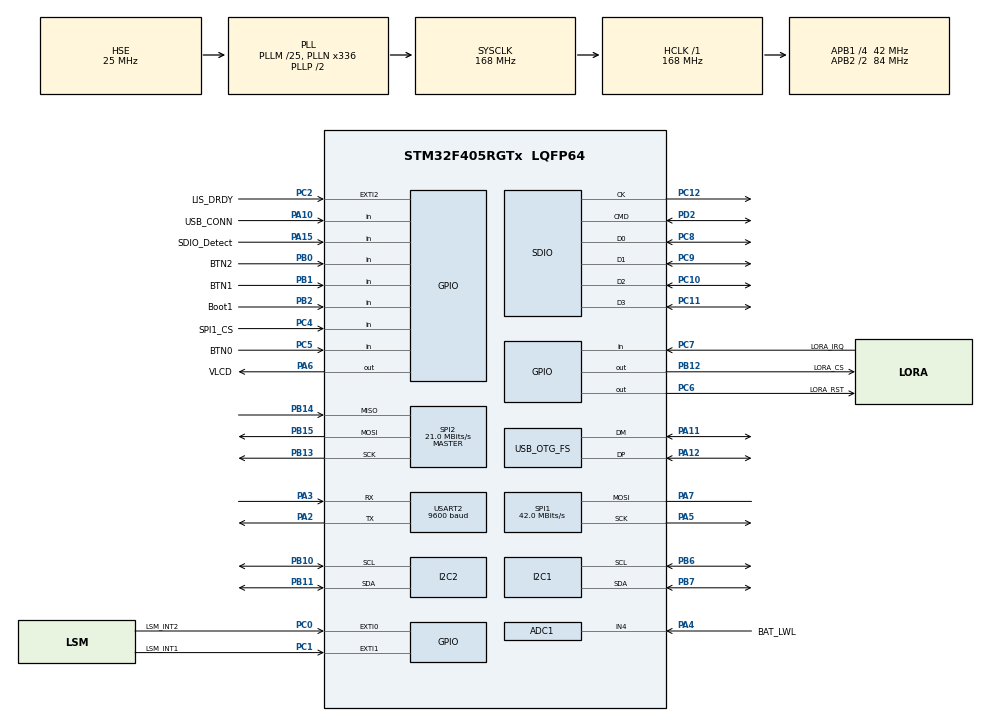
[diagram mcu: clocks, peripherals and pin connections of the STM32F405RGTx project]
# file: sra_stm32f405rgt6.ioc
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ADC1.Channel-0\#ChannelRegularConversion=ADC_CHANNEL_4
ADC1.NbrOfConversionFlag=1
ADC1.Rank-0\#ChannelRegularConversion=1
ADC1.SamplingTime-0\#ChannelRegularConversion=ADC_SAMPLETIME_3CYCLES
ADC1.master=1
Dma.Request0=USART2_RX
Dma.Request1=USART2_TX
Dma.Request2=SDIO_RX
Dma.Request3=SDIO_TX
Dma.SDIO_RX.2.Direction=DMA_PERIPH_TO_MEMORY
Dma.SDIO_RX.2.FIFOMode=DMA_FIFOMODE_ENABLE
Dma.SDIO_RX.2.FIFOThreshold=DMA_FIFO_THRESHOLD_FULL
Dma.SDIO_RX.2.Instance=DMA2_Stream3
Dma.SDIO_RX.2.MemBurst=DMA_MBURST_INC4
Dma.SDIO_RX.2.MemDataAlignment=DMA_MDATAALIGN_WORD
Dma.SDIO_RX.2.MemInc=DMA_MINC_ENABLE
Dma.SDIO_RX.2.Mode=DMA_PFCTRL
Dma.SDIO_RX.2.PeriphBurst=DMA_PBURST_INC4
Dma.SDIO_RX.2.PeriphDataAlignment=DMA_PDATAALIGN_WORD
Dma.SDIO_RX.2.PeriphInc=DMA_PINC_DISABLE
Dma.SDIO_RX.2.Priority=DMA_PRIORITY_HIGH
Dma.SDIO_TX.3.Direction=DMA_MEMORY_TO_PERIPH
Dma.SDIO_TX.3.FIFOMode=DMA_FIFOMODE_ENABLE
Dma.SDIO_TX.3.FIFOThreshold=DMA_FIFO_THRESHOLD_FULL
Dma.SDIO_TX.3.Instance=DMA2_Stream6
Dma.SDIO_TX.3.MemBurst=DMA_MBURST_INC4
Dma.SDIO_TX.3.MemDataAlignment=DMA_MDATAALIGN_WORD
Dma.SDIO_TX.3.MemInc=DMA_MINC_ENABLE
Dma.SDIO_TX.3.Mode=DMA_PFCTRL
Dma.SDIO_TX.3.PeriphBurst=DMA_PBURST_INC4
Dma.SDIO_TX.3.PeriphDataAlignment=DMA_PDATAALIGN_WORD
Dma.SDIO_TX.3.PeriphInc=DMA_PINC_DISABLE
Dma.SDIO_TX.3.Priority=DMA_PRIORITY_HIGH
Dma.USART2_RX.0.Direction=DMA_PERIPH_TO_MEMORY
Dma.USART2_RX.0.FIFOMode=DMA_FIFOMODE_DISABLE
Dma.USART2_RX.0.Instance=DMA1_Stream5
Dma.USART2_RX.0.MemDataAlignment=DMA_MDATAALIGN_BYTE
Dma.USART2_RX.0.MemInc=DMA_MINC_ENABLE
Dma.USART2_RX.0.Mode=DMA_NORMAL
Dma.USART2_RX.0.PeriphDataAlignment=DMA_PDATAALIGN_BYTE
Dma.USART2_RX.0.PeriphInc=DMA_PINC_DISABLE
Dma.USART2_RX.0.Priority=DMA_PRIORITY_LOW
Dma.USART2_TX.1.Direction=DMA_MEMORY_TO_PERIPH
Dma.USART2_TX.1.FIFOMode=DMA_FIFOMODE_DISABLE
Dma.USART2_TX.1.Instance=DMA1_Stream6
Dma.USART2_TX.1.MemDataAlignment=DMA_MDATAALIGN_BYTE
Dma.USART2_TX.1.MemInc=DMA_MINC_ENABLE
Dma.USART2_TX.1.Mode=DMA_NORMAL
Dma.USART2_TX.1.PeriphDataAlignment=DMA_PDATAALIGN_BYTE
Dma.USART2_TX.1.PeriphInc=DMA_PINC_DISABLE
Dma.USART2_TX.1.Priority=DMA_PRIORITY_LOW
FATFS.BSP.number=1
FATFS._CODE_PAGE=866
FATFS._MAX_LFN=63
FATFS._MAX_SS=4096
FATFS._USE_LFN=3
FATFS0.BSP.STBoard=false
FATFS0.BSP.api=Unknown
FATFS0.BSP.instance=PA15
FATFS0.BSP.ip=GPIO
FATFS0.BSP.mode=Input
FATFS0.BSP.name=Detect_SDIO
FATFS0.BSP.solution=PA15
FREERTOS.Tasks01=defaultTask,24,512,StartDefaultTask,Default,NULL,Dynamic,NULL,NULL;taskPolling,24,512,StartTaskGpsPolling,Default,NULL,Dynamic,NULL,NULL;taskDebug,24,512,StartTaskDebug,Default,NULL,Dynamic,NULL,NULL;taskGpsProcess,24,512,StartTaskGpsProcess,Default,NULL,Dynamic,NULL,NULL;taskLSM,24,512,StartTaskLSM,Default,NULL,Dynamic,NULL,NULL;taskLIS,32,512,StartTaskLIS,Default,NULL,Dynamic,NULL,NULL;taskIMU,24,512,StartTaskIMU,Default,NULL,Dynamic,NULL,NULL;taskGPSFilter,24,512,StartTaskGPSFilter,Default,NULL,Dynamic,NULL,NULL;taskFusion,24,512,StartTaskFusion,Default,NULL,Dynamic,NULL,NULL;taskUSB,24,512,StartTaskUSB,Default,NULL,Dynamic,NULL,NULL
FREERTOS.configGENERATE_RUN_TIME_STATS=1
FREERTOS.configLIBRARY_LOWEST_INTERRUPT_PRIORITY=15
FREERTOS.configLIBRARY_MAX_SYSCALL_INTERRUPT_PRIORITY=15
FREERTOS.configMINIMAL_STACK_SIZE=512
FREERTOS.configRECORD_STACK_HIGH_ADDRESS=1
FREERTOS.configTOTAL_HEAP_SIZE=40000
FREERTOS.configUSE_NEWLIB_REENTRANT=1
FREERTOS.configUSE_STATS_FORMATTING_FUNCTIONS=1
Mcu.Family=STM32F4
Mcu.Name=STM32F405RGTx
Mcu.Package=LQFP64
NVIC.DMA1_Stream5_IRQn=true\:15\:0\:false\:false\:true\:true\:false\:true\:true
NVIC.DMA1_Stream6_IRQn=true\:15\:0\:false\:false\:true\:true\:false\:true\:true
NVIC.DMA2_Stream3_IRQn=true\:15\:0\:false\:false\:true\:true\:false\:true\:true
NVIC.DMA2_Stream6_IRQn=true\:15\:0\:false\:false\:true\:true\:false\:true\:true
NVIC.EXTI0_IRQn=true\:15\:0\:false\:true\:true\:1\:true\:true\:true\:true
NVIC.EXTI2_IRQn=true\:15\:0\:true\:true\:true\:2\:true\:true\:true\:true
NVIC.OTG_FS_IRQn=true\:15\:0\:true\:false\:true\:true\:false\:true\:true
NVIC.PriorityGroup=NVIC_PRIORITYGROUP_4
NVIC.SDIO_IRQn=true\:15\:0\:false\:false\:true\:true\:true\:true\:true
NVIC.TIM1_UP_TIM10_IRQn=true\:5\:0\:false\:false\:true\:false\:false\:true\:true
NVIC.TimeBase=TIM1_UP_TIM10_IRQn
NVIC.TimeBaseIP=TIM1
NVIC.USART2_IRQn=true\:15\:0\:false\:false\:true\:true\:true\:true\:true
PA10.GPIO_Label=USB_CONN
PA10.Signal=GPIO_Input
PA11.Mode=Device_Only
PA11.Signal=USB_OTG_FS_DM
PA12.Mode=Device_Only
PA12.Signal=USB_OTG_FS_DP
PA13.Mode=Trace_Asynchronous_SW
PA13.Signal=SYS_JTMS-SWDIO
PA14.Mode=Trace_Asynchronous_SW
PA14.Signal=SYS_JTCK-SWCLK
PA15.GPIO_Label=SDIO_Detect
PA15.GPIO_PuPd=GPIO_PULLDOWN
PA15.Signal=GPIO_Input
PA2.Mode=Asynchronous
PA2.Signal=USART2_TX
PA3.Mode=Asynchronous
PA3.Signal=USART2_RX
PA4.GPIO_Label=BAT_LWL
PA4.Signal=ADCx_IN4
PA5.Mode=Simplex_Bidirectional_Master
PA5.Signal=SPI1_SCK
PA6.GPIO_Label=VLCD
PA6.Signal=GPIO_Output
PA7.Mode=Simplex_Bidirectional_Master
PA7.Signal=SPI1_MOSI
PB0.GPIO_Label=BTN2
PB0.Signal=GPIO_Input
PB1.GPIO_Label=BTN1
PB1.Signal=GPIO_Input
PB10.Mode=I2C
PB10.Signal=I2C2_SCL
PB11.Mode=I2C
PB11.Signal=I2C2_SDA
PB12.GPIO_Label=LORA_CS
PB12.Signal=GPIO_Output
PB13.Mode=Full_Duplex_Master
PB13.Signal=SPI2_SCK
PB14.Mode=Full_Duplex_Master
PB14.Signal=SPI2_MISO
PB15.Mode=Full_Duplex_Master
PB15.Signal=SPI2_MOSI
PB2.GPIO_Label=Boot1
PB2.Signal=GPIO_Input
PB3.Mode=Trace_Asynchronous_SW
PB3.Signal=SYS_JTDO-SWO
PB6.Mode=I2C
PB6.Signal=I2C1_SCL
PB7.Mode=I2C
PB7.Signal=I2C1_SDA
PC0.GPIO_Label=LSM_INT2
PC0.GPIO_ModeDefaultEXTI=GPIO_MODE_IT_RISING
PC0.GPIO_PuPd=GPIO_NOPULL
PC0.Signal=GPXTI0
PC1.GPIO_Label=LSM_INT1
PC1.GPIO_PuPd=GPIO_PULLUP
PC1.Signal=GPXTI1
PC10.Mode=SD_4_bits_Wide_bus
PC10.Signal=SDIO_D2
PC11.Mode=SD_4_bits_Wide_bus
PC11.Signal=SDIO_D3
PC12.Mode=SD_4_bits_Wide_bus
PC12.Signal=SDIO_CK
PC14-OSC32_IN.Mode=LSE-External-Oscillator
PC14-OSC32_IN.Signal=RCC_OSC32_IN
PC15-OSC32_OUT.Mode=LSE-External-Oscillator
PC15-OSC32_OUT.Signal=RCC_OSC32_OUT
PC2.GPIO_Label=LIS_DRDY
PC2.GPIO_PuPd=GPIO_NOPULL
PC2.Signal=GPXTI2
PC4.GPIO_Label=SPI1_CS
PC4.Signal=GPIO_Input
PC5.GPIO_Label=BTN0
PC5.Signal=GPIO_Input
PC6.GPIO_Label=LORA_RST
PC6.Signal=GPIO_Output
PC7.GPIO_Label=LORA_IRQ
PC7.Signal=GPIO_Input
PC8.Mode=SD_4_bits_Wide_bus
PC8.Signal=SDIO_D0
PC9.Mode=SD_4_bits_Wide_bus
PC9.Signal=SDIO_D1
PD2.Mode=SD_4_bits_Wide_bus
PD2.Signal=SDIO_CMD
PH0-OSC_IN.Mode=HSE-External-Oscillator
PH0-OSC_IN.Signal=RCC_OSC_IN
PH1-OSC_OUT.Mode=HSE-External-Oscillator
PH1-OSC_OUT.Signal=RCC_OSC_OUT
ProjectManager.HeapSize=0x600
ProjectManager.StackSize=0x1000
ProjectManager.TargetToolchain=STM32CubeIDE
RCC.48MHZClocksFreq_Value=48000000
RCC.AHBFreq_Value=168000000
RCC.APB1CLKDivider=RCC_HCLK_DIV4
RCC.APB1Freq_Value=42000000
RCC.APB1TimFreq_Value=84000000
RCC.APB2CLKDivider=RCC_HCLK_DIV2
RCC.APB2Freq_Value=84000000
RCC.APB2TimFreq_Value=168000000
RCC.CortexFreq_Value=168000000
RCC.HCLKFreq_Value=168000000
RCC.HSE_VALUE=25000000
RCC.HSI_VALUE=16000000
RCC.PLLM=25
RCC.PLLN=336
RCC.PLLQ=7
RCC.SYSCLKFreq_VALUE=168000000
RCC.SYSCLKSource=RCC_SYSCLKSOURCE_PLLCLK
RCC.VCOOutputFreq_Value=336000000
SDIO.ClockDiv=4
SH.ADCx_IN4.0=ADC1_IN4,IN4
SPI1.BaudRatePrescaler=SPI_BAUDRATEPRESCALER_2
SPI1.CalculateBaudRate=42.0 MBits/s
SPI1.Direction=SPI_DIRECTION_1LINE
SPI1.Mode=SPI_MODE_MASTER
SPI1.VirtualType=VM_MASTER
SPI2.CalculateBaudRate=21.0 MBits/s
SPI2.Direction=SPI_DIRECTION_2LINES
SPI2.Mode=SPI_MODE_MASTER
SPI2.VirtualType=VM_MASTER
TIM10.Period=839
USART2.BaudRate=9600
USART2.VirtualMode=VM_ASYNC
USB_DEVICE.CLASS_NAME_FS=MSC
USB_DEVICE.VirtualMode-MSC_FS=Msc
USB_DEVICE.VirtualModeFS=Msc_FS
USB_OTG_FS.VirtualMode=Device_Only
VP_FATFS_VS_SDIO.Mode=SDIO
VP_FREERTOS_VS_CMSIS_V2.Mode=CMSIS_V2
VP_RNG_VS_RNG.Mode=RNG_Activate
VP_SYS_VS_tim1.Mode=TIM1
VP_TIM10_VS_ClockSourceINT.Mode=Enable_Timer
VP_USB_DEVICE_VS_USB_DEVICE_MSC_FS.Mode=MSC_FS
board=custom

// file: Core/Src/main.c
/* USER CODE BEGIN Header */
/**
  ******************************************************************************
  * @file           : main.c
  * @brief          : Main program body
  ******************************************************************************
  * @attention
  *
  * Copyright (c) 2022 STMicroelectronics.
  * All rights reserved.
  *
  * This software is licensed under terms that can be found in the LICENSE file
  * in the root directory of this software component.
  * If no LICENSE file comes with this software, it is provided AS-IS.
  *
  ******************************************************************************
  */
/* USER CODE END Header */
#include "main.h"
#include "cmsis_os.h"
#include "adc.h"
#include "dma.h"
#include "fatfs.h"
#include "i2c.h"
#include "rng.h"
#include "sdio.h"
#include "spi.h"
#include "tim.h"
#include "usart.h"
#include "usb_device.h"
#include "gpio.h"

/* USER CODE BEGIN Includes */
#include "string.h"
#include "stdio.h"
//#include "gps.h"
#include "GNSS.h"
/* USER CODE END Includes */

/* USER CODE BEGIN PV */
volatile unsigned long ulHighFrequencyTimerTicks;
/* USER CODE END PV */

void SystemClock_Config(void);
void MX_FREERTOS_Init(void);
static void MX_NVIC_Init(void);

/* USER CODE BEGIN 0 */
void HAL_UART_RxCpltCallback(UART_HandleTypeDef *huart)
{
          if(huart == &huart2)
          {
        	  vGPSPollingInterruptHandler();
        	  /*BaseType_t xHigherPriorityTaskWoken = pdFALSE;
        	  prvClearInterrupt();
        	  vTaskNotifyFromISR(gpsPollingHandle, &xHigherPriorityTaskWoken);
        	  portYIELD_FROM_ISR(xHigherPriorityTaskWoken);*/
        	  //GNSS_ParseBuffer(&GNSS_Handle);
          }
}

void HAL_GPIO_EXTI_Callback(uint16_t GPIO_Pin)
{
	if(GPIO_Pin == LSM_INT2_Pin) {
		vLSMPollingInterruptHandler();
	} else if(GPIO_Pin == LIS_DRDY_Pin) {
		vLISPollingInterruptHandler();
	} else {
		__NOP();
	}
	/*if(GPIO_Pin == LSM_INT2_Pin) {
	  vLSMPollingInterruptHandler();
  }*/
}
/* USER CODE END 0 */

int main(void)
{

  /* MCU Configuration--------------------------------------------------------*/

  /* Reset of all peripherals, Initializes the Flash interface and the Systick. */
  HAL_Init();

  /* Configure the system clock */
  SystemClock_Config();

  /* Initialize all configured peripherals */
  MX_GPIO_Init();
  MX_DMA_Init();
  MX_ADC1_Init();
  MX_I2C1_Init();
  MX_SDIO_SD_Init();
  MX_SPI1_Init();
  MX_USART2_UART_Init();
  MX_SPI2_Init();
  MX_I2C2_Init();
  MX_RNG_Init();
  MX_TIM10_Init();

  /* Initialize interrupts */
  MX_NVIC_Init();

  /* Init scheduler */
  osKernelInitialize();  /* Call init function for freertos objects (in freertos.c) */
  MX_FREERTOS_Init();

  /* Start scheduler */
  osKernelStart();

  /* We should never get here as control is now taken by the scheduler */
  /* Infinite loop */
  while (1)
  {

  }
}

void SystemClock_Config(void)
{
  RCC_OscInitTypeDef RCC_OscInitStruct = {0};
  RCC_ClkInitTypeDef RCC_ClkInitStruct = {0};

  /** Configure the main internal regulator output voltage
  */
  __HAL_RCC_PWR_CLK_ENABLE();
  __HAL_PWR_VOLTAGESCALING_CONFIG(PWR_REGULATOR_VOLTAGE_SCALE1);

  /** Initializes the RCC Oscillators according to the specified parameters
  * in the RCC_OscInitTypeDef structure.
  */
  RCC_OscInitStruct.OscillatorType = RCC_OSCILLATORTYPE_HSE;
  RCC_OscInitStruct.HSEState = RCC_HSE_ON;
  RCC_OscInitStruct.PLL.PLLState = RCC_PLL_ON;
  RCC_OscInitStruct.PLL.PLLSource = RCC_PLLSOURCE_HSE;
  RCC_OscInitStruct.PLL.PLLM = 25;
  RCC_OscInitStruct.PLL.PLLN = 336;
  RCC_OscInitStruct.PLL.PLLP = RCC_PLLP_DIV2;
  RCC_OscInitStruct.PLL.PLLQ = 7;
  if (HAL_RCC_OscConfig(&RCC_OscInitStruct) != HAL_OK)
  {
    Error_Handler();
  }

  /** Initializes the CPU, AHB and APB buses clocks
  */
  RCC_ClkInitStruct.ClockType = RCC_CLOCKTYPE_HCLK|RCC_CLOCKTYPE_SYSCLK
                              |RCC_CLOCKTYPE_PCLK1|RCC_CLOCKTYPE_PCLK2;
  RCC_ClkInitStruct.SYSCLKSource = RCC_SYSCLKSOURCE_PLLCLK;
  RCC_ClkInitStruct.AHBCLKDivider = RCC_SYSCLK_DIV1;
  RCC_ClkInitStruct.APB1CLKDivider = RCC_HCLK_DIV4;
  RCC_ClkInitStruct.APB2CLKDivider = RCC_HCLK_DIV2;

  if (HAL_RCC_ClockConfig(&RCC_ClkInitStruct, FLASH_LATENCY_5) != HAL_OK)
  {
    Error_Handler();
  }
}

/**
  * @brief NVIC Configuration.
  * @retval None
  */
static void MX_NVIC_Init(void)
{
  /* EXTI0_IRQn interrupt configuration */
  HAL_NVIC_SetPriority(EXTI0_IRQn, 15, 0);
  HAL_NVIC_EnableIRQ(EXTI0_IRQn);
  /* EXTI2_IRQn interrupt configuration */
  HAL_NVIC_SetPriority(EXTI2_IRQn, 15, 0);
  HAL_NVIC_EnableIRQ(EXTI2_IRQn);
}

/* USER CODE BEGIN 4 */
/*int __io_putchar(int ch){
	ITM_SendChar(ch);
	return ch;
}*/

void configureTimerForRunTimeStats(void)
{
    ulHighFrequencyTimerTicks = 0;
    HAL_TIM_Base_Start_IT(&htim10);
}

unsigned long getRunTimeCounterValue(void)
{
	return ulHighFrequencyTimerTicks;
}

int __io_putchar(int ch)
{
  ITM_SendChar((uint32_t)ch);
  return ch;
}
/*int fputc(int ch, FILE *f)
{
  ITM_SendChar((uint32_t)ch);
  return ch;
}*/

/*int _write ( int file, char *ptr, int len )
{
  int i = 0;
  for ( i = 0; i < len; i++ )
    ITM_SendChar ( *ptr++ );
  return len;
}*/
/* USER CODE END 4 */

void HAL_TIM_PeriodElapsedCallback(TIM_HandleTypeDef *htim)
{
  if (htim->Instance == TIM1) {
    HAL_IncTick();
  }
}

void Error_Handler(void)
{
  __disable_irq();
  while (1)
  {
  }
}

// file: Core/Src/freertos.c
/* USER CODE BEGIN Header */
/**
  ******************************************************************************
  * File Name          : freertos.c
  * Description        : Code for freertos applications
  ******************************************************************************
  * @attention
  *
  * Copyright (c) 2023 STMicroelectronics.
  * All rights reserved.
  *
  * This software is licensed under terms that can be found in the LICENSE file
  * in the root directory of this software component.
  * If no LICENSE file comes with this software, it is provided AS-IS.
  *
  ******************************************************************************
  */
/* USER CODE END Header */

#include "FreeRTOS.h"
#include "task.h"
#include "main.h"
#include "cmsis_os.h"

/* USER CODE BEGIN Includes */
#include "queue.h"
#include "usb_device.h"
#include "bsp_driver_sd.h"
#include "fatfs.h"
#include <stdio.h>
#include "GNSS.h"
#include "lsm6ds3.h"
#include "lis3mdl.h"
#include "imu.h"
#include "coordinates.h"
#include "fusion.h"
/* USER CODE END Includes */

/* USER CODE BEGIN PTD */
extern I2C_HandleTypeDef hi2c1;
extern UART_HandleTypeDef huart2;

extern void cardReadCompletedCB(uint8_t res, void * context);
extern void cardWriteCompletedCB(uint8_t res, void * context);
/* USER CODE END PTD */

/* USER CODE BEGIN PD */
#define KF_STATE_DIM 4
#define KF_OBS_DIM 4
#define KF_U_DIM 2
#define KF_INIT_POSITION_VAR 150.0
#define KF_INIT_VELOCITY_VAR 15.0
#define KF_SIGM_ACC 0.2

float mx = 0.0;
float my = 0.0;
float mz = 0.0;
float gx, gy, gz;
float ax = 0.0;
float ay = 0.0;
float az = 0.0;
float axi = 0.0;
float ayi = 0.0;
float azi = 0.0;
float r = 0.0;
float p = 0.0;
float y = 0.0;
/* USER CODE END PD */

/* USER CODE BEGIN Variables */
static TaskHandle_t xTaskGpsProcess = NULL;
static TaskHandle_t xTaskLSMProcess = NULL;
static TaskHandle_t xTaskLISProcess = NULL;
static TaskHandle_t xTaskIMUProcess = NULL;
static TaskHandle_t xDebugHandle = NULL;

QueueHandle_t sdCmdQueue = NULL;

/* USER CODE END Variables */
/* Definitions for defaultTask */
osThreadId_t defaultTaskHandle;
const osThreadAttr_t defaultTask_attributes = {
  .name = "defaultTask",
  .stack_size = 512 * 4,
  .priority = (osPriority_t) osPriorityNormal,
};
/* Definitions for taskPolling */
osThreadId_t taskPollingHandle;
const osThreadAttr_t taskPolling_attributes = {
  .name = "taskPolling",
  .stack_size = 512 * 4,
  .priority = (osPriority_t) osPriorityNormal,
};
/* Definitions for taskDebug */
osThreadId_t taskDebugHandle;
const osThreadAttr_t taskDebug_attributes = {
  .name = "taskDebug",
  .stack_size = 512 * 4,
  .priority = (osPriority_t) osPriorityNormal,
};
/* Definitions for taskGpsProcess */
osThreadId_t taskGpsProcessHandle;
const osThreadAttr_t taskGpsProcess_attributes = {
  .name = "taskGpsProcess",
  .stack_size = 512 * 4,
  .priority = (osPriority_t) osPriorityNormal,
};
/* Definitions for taskLSM */
osThreadId_t taskLSMHandle;
const osThreadAttr_t taskLSM_attributes = {
  .name = "taskLSM",
  .stack_size = 512 * 4,
  .priority = (osPriority_t) osPriorityNormal,
};
/* Definitions for taskLIS */
osThreadId_t taskLISHandle;
const osThreadAttr_t taskLIS_attributes = {
  .name = "taskLIS",
  .stack_size = 512 * 4,
  .priority = (osPriority_t) osPriorityAboveNormal,
};
/* Definitions for taskIMU */
osThreadId_t taskIMUHandle;
const osThreadAttr_t taskIMU_attributes = {
  .name = "taskIMU",
  .stack_size = 512 * 4,
  .priority = (osPriority_t) osPriorityNormal,
};
/* Definitions for taskGPSFilter */
osThreadId_t taskGPSFilterHandle;
const osThreadAttr_t taskGPSFilter_attributes = {
  .name = "taskGPSFilter",
  .stack_size = 512 * 4,
  .priority = (osPriority_t) osPriorityNormal,
};
/* Definitions for taskFusion */
osThreadId_t taskFusionHandle;
const osThreadAttr_t taskFusion_attributes = {
  .name = "taskFusion",
  .stack_size = 512 * 4,
  .priority = (osPriority_t) osPriorityNormal,
};
/* Definitions for taskUSB */
osThreadId_t taskUSBHandle;
const osThreadAttr_t taskUSB_attributes = {
  .name = "taskUSB",
  .stack_size = 512 * 4,
  .priority = (osPriority_t) osPriorityNormal,
};

/* USER CODE BEGIN FunctionPrototypes */

long int lsmRate = 0;
int lisRate = 0;
void printBits(size_t const size, void const * const ptr)
{
    unsigned char *b = (unsigned char*) ptr;
    unsigned char byte;
    int i, j;

    for (i = size-1; i >= 0; i--) {
        for (j = 7; j >= 0; j--) {
            byte = (b[i] >> j) & 1;
            printf("%u", byte);
        }
    }
    printf(" ");
}

void vGPSPollingInterruptHandler( void );
void vLSMPollingInterruptHandler(void);
void vLISPollingInterruptHandler(void);
/* USER CODE END FunctionPrototypes */

void StartDefaultTask(void *argument);
void StartTaskGpsPolling(void *argument);
void StartTaskDebug(void *argument);
void StartTaskGpsProcess(void *argument);
void StartTaskLSM(void *argument);
void StartTaskLIS(void *argument);
void StartTaskIMU(void *argument);
void StartTaskGPSFilter(void *argument);
void StartTaskFusion(void *argument);
void StartTaskUSB(void *argument);

void StartTaskTEST(void *argument);

extern void MX_USB_DEVICE_Init(void);
void MX_FREERTOS_Init(void); /* (MISRA C 2004 rule 8.1) */

/* Hook prototypes */
void configureTimerForRunTimeStats(void);
unsigned long getRunTimeCounterValue(void);

/* USER CODE BEGIN 1 */

/*void mag_calibration(){
	printf("MAGNETOMETER CALIBRATION START in 3 seconds\r\n");
	osDelay(3000);
	uint16_t ii = 0;
	uint16_t sample_count = 10000;
	float mag_bias[3] = {0.0};
	float mag_scale[3] = {0.0};
	float max_mag[3] = {-8.0, -8.0, -8.0};
	float min_mag[3] = {8.0, 8.0, 8.0};
	float mag_temp[3] = {0.0};
	LIS3MDL_MAG_GetMeasurements_gauss();
	while(ii <= sample_count){
		ulTaskNotifyTake( pdTRUE, portMAX_DELAY );
		LIS3MDL_MAG_GetMeasurements_gauss();

		for (uint8_t j = 0; j < 3; j++){
			mag_temp[j] = LIS3MDL.m[j];
			if(mag_temp[j] > max_mag[j]){
				max_mag[j] = mag_temp[j];
			}
			if(mag_temp[j] < min_mag[j]){
				min_mag[j] = mag_temp[j];
			}
		}
		ii ++;
	}
	for (uint8_t i = 0; i < 3; i++){
		mag_bias[i] = (max_mag[i] + min_mag[i])/2.0;
		mag_scale[i]  = (max_mag[i] - min_mag[i])/2.0;
	}
	float avg_rad = mag_scale[0] + mag_scale[1] + mag_scale[2];
	avg_rad /= 3.0;

	for (uint8_t i = 0; i < 3; i++){
		mag_scale[i]  = avg_rad/mag_scale[i];
	}
	printf("MAG_BIAS: %.4f %.4f %.4f MAG_SCALE: %.4f %.4f %.4f ", mag_bias[0], mag_bias[1], mag_bias[2], mag_scale[0], mag_scale[1], mag_scale[2]);
	xTaskNotifyGive(xTaskGpsProcess);
	xTaskNotifyGive(xTaskLSMProcess);
}*/
/*void acc_gyro_calibration(){
	printf("ACC GYRO CALIBRATING START \r\n");
		osDelay(3000);
		LSM6DS3_IMU_GetData();
		int data_count = 0;
		float ac[3] = {0.0};
		float gc[3] = {0.0};

		while (data_count < 10000){
			ulTaskNotifyTake( pdTRUE, portMAX_DELAY );
			LSM6DS3_IMU_GetData();
			for (uint8_t i = 0; i < 3; i++){
				ac[i] += LSM6DS3.a[i];
				gc[i] += LSM6DS3.g[i];
			}
			data_count++;
		}
		for (uint8_t j = 0; j < 3; j++){
			ac[j] /= 10000.0;
			gc[j] /= 10000.0;
		}
		printf("BIASES ACC: %.4f %.4f %.4f GYRO: %.4f %.4f %.4f \r\n", ac[0], ac[1], ac[2], gc[0], gc[1], gc[2]);
		xTaskNotifyGive(xTaskGpsProcess);
		xTaskNotifyGive(xTaskLISProcess);
}*/

void vLSMPollingInterruptHandler(void){

	lsmRate += 1;
	//BaseType_t xHigherPriorityTaskWoken;

	//xHigherPriorityTaskWoken = pdFALSE;

	//vTaskNotifyGiveFromISR( xTaskLSMProcess, &xHigherPriorityTaskWoken );

	//portYIELD_FROM_ISR( xHigherPriorityTaskWoken );

}

void vLISPollingInterruptHandler(void){

	lisRate += 1;
	//printf("LIS INTERRUPT \r\n");
	BaseType_t xHigherPriorityTaskWoken1;

	xHigherPriorityTaskWoken1 = pdFALSE;

	vTaskNotifyGiveFromISR( taskLISHandle, &xHigherPriorityTaskWoken1 );

	portYIELD_FROM_ISR( xHigherPriorityTaskWoken1 );

}
void vGPSPollingInterruptHandler( void )
{

    BaseType_t xHigherPriorityTaskWoken;

    xHigherPriorityTaskWoken = pdFALSE;

    vTaskNotifyGiveFromISR( taskGpsProcessHandle, &xHigherPriorityTaskWoken );

    portYIELD_FROM_ISR( xHigherPriorityTaskWoken );
}

/* Functions needed when configGENERATE_RUN_TIME_STATS is on */
__weak void configureTimerForRunTimeStats(void)
{

}

__weak unsigned long getRunTimeCounterValue(void)
{
return 0;
}
/* USER CODE END 1 */

void MX_FREERTOS_Init(void) {

  /* Create the thread(s) */
  /* creation of defaultTask */
  defaultTaskHandle = osThreadNew(StartDefaultTask, NULL, &defaultTask_attributes);

  /* creation of taskPolling */
  taskPollingHandle = osThreadNew(StartTaskGpsPolling, NULL, &taskPolling_attributes);

  /* creation of taskDebug */
  taskDebugHandle = osThreadNew(StartTaskDebug, NULL, &taskDebug_attributes);

  /* creation of taskGpsProcess */
  taskGpsProcessHandle = osThreadNew(StartTaskGpsProcess, NULL, &taskGpsProcess_attributes);

  /* creation of taskLSM */
  taskLSMHandle = osThreadNew(StartTaskLSM, NULL, &taskLSM_attributes);

  /* creation of taskLIS */
  taskLISHandle = osThreadNew(StartTaskLIS, NULL, &taskLIS_attributes);

  /* creation of taskIMU */
  taskIMUHandle = osThreadNew(StartTaskIMU, NULL, &taskIMU_attributes);

  /* creation of taskGPSFilter */
  taskGPSFilterHandle = osThreadNew(StartTaskGPSFilter, NULL, &taskGPSFilter_attributes);

  /* creation of taskFusion */
  taskFusionHandle = osThreadNew(StartTaskFusion, NULL, &taskFusion_attributes);

  /* creation of taskUSB */
  taskUSBHandle = osThreadNew(StartTaskUSB, NULL, &taskUSB_attributes);

}

void StartDefaultTask(void *argument)
{
  /* init code for USB_DEVICE */
	MX_FATFS_Init();
  MX_USB_DEVICE_Init();
  /* USER CODE BEGIN StartDefaultTask */
  //uint8_t res = 0;
  /*res = f_mount(&SDFatFS, SDPath, 1);
    	  	if(res != FR_OK)
    	  	{
    	  		printf("ERROR in mount filesystem \r\n");
    	  	}
    	  	else
    	  	{
    	  		printf("Success mount filesystem \r\n");
    	  	}*/
	//BSP_SD_Init();
	//MX_FATFS_Init();
	//MX_USB_DEVICE_Init();
	/*HAL_SD_CardInfoTypeDef Card_Info;
	int8_t const card_type[3][15] = {"CARD_SDSC\0","CARD_SDHC_SDXC\0","CARD_SECURED\0"};
	int8_t const card_ver [2][10] = {"CARD_V1_X\0","CARD_V1_X\0"};
	volatile FRESULT fres;

	printf("\n\rStart testing SDCARD\n\r");
	BSP_SD_GetCardInfo(&Card_Info);
	printf("Card Type               -> %s\n", card_type[Card_Info.CardType]);
	printf("Card Version            -> %s\n", card_ver[Card_Info.CardVersion]);
	printf("Block Size              -> 0x%x\n", (int)Card_Info.BlockSize);
	printf("Card Capacity in blocks -> 0x%x(%uGB)\n\r", (int)Card_Info.BlockNbr,(int)((((float)Card_Info.BlockNbr/1000)*(float)Card_Info.BlockSize/1000000)+0.5));
	osDelay(5000);

	fres = f_mount(&SDFatFS, (const TCHAR*)SDPath, 0);
	printf("Mount FAT FS request sent\n");

	printf("Formatting storage device\n");
	void* work = malloc(512);
	fres = f_mkfs((const TCHAR*)SDPath, FM_FAT32, 0, work, 512);
	if (fres != FR_OK) {
	    printf("Formatting SD failed\n");
	}
	else {
	    printf("SD formatted\n");
	}
	free(work);

	printf("Opening file\n");

	fres = f_open(&SDFile, (const TCHAR*)"UMC2023-02-13-.log", FA_CREATE_NEW | FA_WRITE);
	if (fres == FR_OK) {
	    printf ("File opened\n");
	    f_close(&SDFile);
	}
	else {
	    printf("Error opening file. ExitCode = %i\n", fres);
	}
	osDelay(5000);*/
  /* Infinite loop */
  for(;;)
  {
    osDelay(1);
  }
  /* USER CODE END StartDefaultTask */
}

void StartTaskGpsPolling(void *argument)
{
  /* USER CODE BEGIN StartTaskGpsPolling */
  /* Infinite loop */
	GNSS_Init(&GNSS_Handle, &huart2);
	GNSS_LoadConfig(&GNSS_Handle);
	osDelay(100);
  for(;;)
  {
	  GNSS_GetPVTData(&GNSS_Handle);
	  osDelay(1000);
  }
  /* USER CODE END StartTaskGpsPolling */
}

void StartTaskDebug(void *argument)
{
  /* USER CODE BEGIN StartTaskDebug */
	configASSERT( xDebugHandle == NULL);
	xDebugHandle = xTaskGetCurrentTaskHandle();
  /* Infinite loop */
  for(;;)
  {
	  ulTaskNotifyTake( pdTRUE, portMAX_DELAY );
	  //printf("ACC: %0.4f %0.4f %0.4f \r\n", IMU.a[0], LSM6DS3.a[1], LSM6DS3.a[2]);
	  //printf("MAG: %0.4f %0.4f %0.4f \r\n", LIS3MDL.m[0], LIS3MDL.m[1], LIS3MDL.m[2]);
	  printf("IMU ACC: %0.4f %0.4f %0.4f \r\n", IMU.rpy[0], IMU.rpy[1], IMU.rpy[2]);
	  //printf("LisRATE: %d \r\n", lisRate);
	  //printf("LsmRATE: %d \r\n", lsmRate);
	  if (DEBUG && DEBUG_LWL <= 0){
		  //printf("LSM RATE INTERRUPT %d \r\n", lsmRate);
		  printf("Day: %d-%d-%d \r\n", GNSS_Handle.day, GNSS_Handle.month,GNSS_Handle.year);
		  printf("Time: %d:%d:%d \r\n", GNSS_Handle.hour, GNSS_Handle.min,GNSS_Handle.sec);
		  printf("Status of fix: %d \r\n", GNSS_Handle.fixType);
		  printf("Sat number: %d \r\n", GNSS_Handle.numSV);
		  printf("Latitude: %f \r\n", GNSS_Handle.fLat);
		  printf("Longitude: %f \r\n",GNSS_Handle.fLon);
		  printf("Course: %.2f \r\n", GNSS_Handle.course);
		  printf("Ground Speed (2-D): %.2f \r\n", GNSS_Handle.gSpeed);
		  printf("velN velE velD: %.2f %.2f %.2f \r\n", GNSS_Handle.velN, GNSS_Handle.velE, GNSS_Handle.velD);

		  printf("Horizontal, speed, course accuracy: %.2f %.2f %.2f \r\n", GNSS_Handle.hAcc, GNSS_Handle.sAcc, GNSS_Handle.headAcc);
		  /*printf("Unique ID: %04X %04X %04X %04X %04X \n\r",
					  GNSS_Handle.uniqueID[0], GNSS_Handle.uniqueID[1],
					  GNSS_Handle.uniqueID[2], GNSS_Handle.uniqueID[3],
					  GNSS_Handle.uniqueID[4], GNSS_Handle.uniqueID[5]);*/
	  }
	  //osDelay(1000);
  }
  /* USER CODE END StartTaskDebug */
}

void StartTaskGpsProcess(void *argument)
{
  /* USER CODE BEGIN StartTaskGpsProcess */
	configASSERT( xTaskGpsProcess == NULL);
	xTaskGpsProcess = xTaskGetCurrentTaskHandle();
	//ulTaskNotifyTake( pdTRUE, portMAX_DELAY );
  /* Infinite loop */
  for(;;)
  {
	  ulTaskNotifyTake( pdTRUE, portMAX_DELAY );
	  GNSS_ParseBuffer(&GNSS_Handle);
	  if (GPS_Filter.firstFix == 0){
		  if(GNSS_Handle.fixType > 1){
			  GPS_Filter.firstFix = 1;
			  GPS_Filter.oldFixmode = GNSS_Handle.fixType;
			  GPS_Filter.oldHacc = GNSS_Handle.hAcc;
			  GEO_Point_set(&GNSS_Handle, &pointFirst, 1, 1);
			  GEO_Point_set(&GNSS_Handle, &pointOld, 1, 1);
			  GEO_Point_set(&GNSS_Handle, &pointCurrent, 1, 1);
		  }
	  }

	  xTaskNotifyGive(taskGPSFilterHandle);
	  xTaskNotifyGive( taskDebugHandle );
	  //osDelay(1);
  }
  /* USER CODE END StartTaskGpsProcess */
}

void StartTaskLSM(void *argument)
{
  /* USER CODE BEGIN StartTaskLSM */
  /* Infinite loop */
	configASSERT( xTaskLSMProcess == NULL);
	xTaskLSMProcess = xTaskGetCurrentTaskHandle();
	//ulTaskNotifyTake( pdTRUE, portMAX_DELAY );
	osDelay(100);
	LSM6DS3_Init(LSM6DS3_SA0_HIGH_LEVEL, LSM6DS3_DEFAULT_TIMEOUT*10, &hi2c1);
	LSM6DS3_Configure(10, XL_1666Hz, XL_RANGE_4G, XL_FILTER_400Hz, GS_1666Hz, GS_RANGE_250dps);
	osDelay(10);
	LSM6DS3_IMU_GetData();

  for(;;)
  {
	  ulTaskNotifyTake( pdTRUE, portMAX_DELAY );
	  //printf("LSM task after notification \r\n");
	  if(LSM6DS3_IMU_GetData() == LSM6DS3_OK){
		  /*ax = LSM6DS3.a[0];
		  ay = LSM6DS3.a[1];
		  az = LSM6DS3.a[2];
		  gx = LSM6DS3.g[0];
		  gy = LSM6DS3.g[1];
		  gz = LSM6DS3.g[2];*/

	  }
	  xTaskNotifyGive( taskIMUHandle );
	  //printf("LSM LOOP \r\n");

  }
  /* USER CODE END StartTaskLSM */
}

void StartTaskLIS(void *argument)
{
  /* USER CODE BEGIN StartTaskLIS */
  /* Infinite loop */
	configASSERT( xTaskLISProcess == NULL);
	xTaskLISProcess = xTaskGetCurrentTaskHandle();
	//ulTaskNotifyTake( pdTRUE, portMAX_DELAY );
	//float ax, ay, az, gx, gy, gz;
	osDelay(100);
	LIS3MDL_Init(LIS3MDL_SA1_LOW_LEVEL, 100, &hi2c1);
	LIS3MDL_Configure(10, LIS3MDL_CTRL_REG1_80HZ_LP, LIS3MDL_CTRL_REG2_8G);
	osDelay(10);
	LIS3MDL_MAG_GetMeasurements_gauss();

  for(;;)
  {
	  ulTaskNotifyTake( pdTRUE, portMAX_DELAY );
	  //printf("LIS LOOP \r\n");

	  LIS3MDL_MAG_GetMeasurements_gauss();
	  //float r = sqrt(LIS3MDL.m[0]*LIS3MDL.m[0]+LIS3MDL.m[1]*LIS3MDL.m[1]+LIS3MDL.m[2]*LIS3MDL.m[2]);
	  //printf("%f %f %f \r\n", LIS3MDL.m[0], LIS3MDL.m[1], LIS3MDL.m[2]);
	  //printf("LIS task before notification give \r\n");
	  xTaskNotifyGive( taskLSMHandle );

    //osDelay(1000);
  }
  /* USER CODE END StartTaskLIS */
}

void StartTaskIMU(void *argument)
{
  /* USER CODE BEGIN StartTaskIMU */
  /* Infinite loop */
	configASSERT( xTaskIMUProcess == NULL);
	xTaskIMUProcess = xTaskGetCurrentTaskHandle();
	osDelay(100);
	IMU_Init(&IMU);
  for(;;)
  {
	  ulTaskNotifyTake( pdTRUE, portMAX_DELAY );
	  IMU_Update(&IMU, &LIS3MDL, &LSM6DS3);
	  axi = IMU.long_acc;
	  ayi = IMU.earth_acc[0];
	  azi = IMU.earth_acc[1];

	  gx = IMU.gned[0];
	  gy = IMU.gned[1];
	  gz = IMU.gned[2];
	  mx = IMU.mned[0];
	  my = IMU.mned[1];
	  mz = IMU.mned[2];
	  r = IMU.rpy[0];
	  p = IMU.rpy[1];
	  y = IMU.rpy[2];
	  xTaskNotifyGive(taskFusionHandle);
  }
  /* USER CODE END StartTaskIMU */
}

void StartTaskGPSFilter(void *argument)
{
  /* USER CODE BEGIN StartTaskGPSFilter */
	xTaskGetCurrentTaskHandle();
	GPS_Filter_Init(&GPS_Filter);

  /* Infinite loop */
  for(;;)
  {
	  ulTaskNotifyTake( pdTRUE, portMAX_DELAY );
	  /*
	   * На выходе обновляем две точки структуры GEO_Point:
	   * pointCurrent - самая новая точка,
	   * pointOld - последняя валидная точка
	   * Функция построена таким образом, что если с GPS приходит хорошая точка, то она сохраняется в pointCurrent с флагами
	   * success = 1 и isNew = 1, а также копируется в pointOld.
	   * Если же с GPS приходит плохая точка, то в pointCurrent попадает последняя хорошая точка(pointOld) с флагами
	   * success = 0 и isNew = 0
	   */
	  GPS_FilterUpdate(&GNSS_Handle, &GPS_Filter, &pointOld, &pointCurrent);
  }
  /* USER CODE END StartTaskGPSFilter */
}

void StartTaskFusion(void *argument)
{
  /* USER CODE BEGIN StartTaskFusion */
	osDelay(1000);
	initFusion(&Fusion, &KF, KF_STATE_DIM, KF_OBS_DIM, KF_U_DIM, KF_INIT_POSITION_VAR, KF_INIT_VELOCITY_VAR, KF_SIGM_ACC);
	double dt = IMU.deltaT;
  /* Infinite loop */
  for(;;)
  {
	  ulTaskNotifyTake( pdTRUE, portMAX_DELAY );
	  if (GPS_Filter.firstFix == 1){
		  Fusion_compute(&Fusion, &IMU, &pointCurrent, dt);
	  }
  }
  /* USER CODE END StartTaskFusion */
}

void StartTaskUSB(void *argument)
{
  /* USER CODE BEGIN StartTaskUSB */
	//MX_FATFS_Init();
	//MX_USB_DEVICE_Init();
	sdCmdQueue = xQueueCreate(1, sizeof(IO_Msg));
	//BSP_SD_Init();
	//MX_FATFS_Init();
	//MX_USB_DEVICE_Init();
  /* Infinite loop */
  for(;;)
  {

	  IO_Msg msg;
	  if(xQueueReceive(sdCmdQueue, &msg, portMAX_DELAY)){
		  switch(msg.op){
			  case IO_Read:
			  {
				  uint32_t timeout = 10;
				  uint8_t res = BSP_SD_ReadBlocks(msg.buf, msg.blk_addr, msg.blk_len, timeout);
				  //printf("res after ReadBlocks %d \r\n", res);
				  res = 0;
				  while(BSP_SD_GetCardState() != MSD_OK)
				  	  {
				  	    if (timeout-- == 0)
				  	    {
				  	      res = 1;
				  	      break;
				  	    }
				  	  }
				  	  //res = 0;
				  //printf("res: %d \r\n", res);
				  cardReadCompletedCB(res, msg.context);
				  break;
			  }
			  case IO_Write:
			  {
				  uint32_t timeout = 10;
				  uint8_t res = BSP_SD_WriteBlocks(msg.buf, msg.blk_addr, msg.blk_len, timeout);
				  //printf("res after WriteBlocks %d \r\n", res);
				  res = 0;
				  while(BSP_SD_GetCardState() != MSD_OK)
				  				  	  {
				  				  	    if (timeout-- == 0)
				  				  	    {
				  				  	      res = 1;
				  				  	      break;
				  				  	    }
				  				  	  }
				  				  	  //res = 0;
				  				  	//printf("res: %d \r\n", res);
				  cardWriteCompletedCB(res, msg.context);
				  break;
			  }
			  default:
				  break;
		  }
	  }
	  //osDelay(1000);
  }
  /* USER CODE END StartTaskUSB */
}
